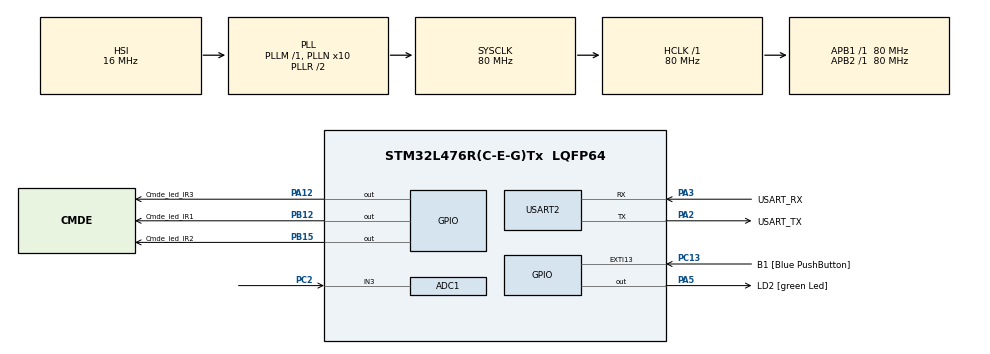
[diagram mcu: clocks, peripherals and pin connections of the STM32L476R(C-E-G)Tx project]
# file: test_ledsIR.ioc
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ADC1.Channel-0\#ChannelRegularConversion=ADC_CHANNEL_3
ADC1.NbrOfConversionFlag=1
ADC1.OffsetNumber-0\#ChannelRegularConversion=ADC_OFFSET_NONE
ADC1.Rank-0\#ChannelRegularConversion=1
ADC1.Resolution=ADC_RESOLUTION_8B
ADC1.SamplingTime-0\#ChannelRegularConversion=ADC_SAMPLETIME_640CYCLES_5
ADC1.master=1
Mcu.Family=STM32L4
Mcu.Name=STM32L476R(C-E-G)Tx
Mcu.Package=LQFP64
NVIC.ADC1_2_IRQn=true\:0\:0\:false\:false\:true\:true\:true\:true
NVIC.PriorityGroup=NVIC_PRIORITYGROUP_4
PA12.GPIO_Label=Cmde_led_IR3
PA12.GPIO_PuPd=GPIO_NOPULL
PA12.Signal=GPIO_Output
PA13\ (JTMS-SWDIO).GPIO_Label=TMS
PA13\ (JTMS-SWDIO).Mode=Serial_Wire
PA13\ (JTMS-SWDIO).Signal=SYS_JTMS-SWDIO
PA14\ (JTCK-SWCLK).GPIO_Label=TCK
PA14\ (JTCK-SWCLK).Mode=Serial_Wire
PA14\ (JTCK-SWCLK).Signal=SYS_JTCK-SWCLK
PA2.GPIO_Label=USART_TX
PA2.GPIO_Mode=GPIO_MODE_AF_PP
PA2.GPIO_PuPd=GPIO_NOPULL
PA2.GPIO_Speed=GPIO_SPEED_FREQ_VERY_HIGH
PA2.Mode=Asynchronous
PA2.Signal=USART2_TX
PA3.GPIO_Label=USART_RX
PA3.GPIO_Mode=GPIO_MODE_AF_PP
PA3.GPIO_PuPd=GPIO_NOPULL
PA3.GPIO_Speed=GPIO_SPEED_FREQ_VERY_HIGH
PA3.Mode=Asynchronous
PA3.Signal=USART2_RX
PA5.GPIO_Label=LD2 [green Led]
PA5.GPIO_ModeDefaultOutputPP=GPIO_MODE_OUTPUT_PP
PA5.GPIO_PuPd=GPIO_NOPULL
PA5.GPIO_Speed=GPIO_SPEED_FREQ_LOW
PA5.Signal=GPIO_Output
PB1.Signal=ADCx_IN16
PB12.GPIO_Label=Cmde_led_IR1
PB12.Signal=GPIO_Output
PB15.GPIO_Label=Cmde_led_IR2
PB15.Signal=GPIO_Output
PB3\ (JTDO-TRACESWO).GPIO_Label=SWO
PB3\ (JTDO-TRACESWO).Signal=SYS_JTDO-SWO
PC13.GPIO_Label=B1 [Blue PushButton]
PC13.GPIO_ModeDefaultEXTI=GPIO_MODE_IT_FALLING
PC13.GPIO_PuPd=GPIO_NOPULL
PC13.Signal=GPXTI13
PC14-OSC32_IN\ (PC14).Mode=LSE-External-Oscillator
PC14-OSC32_IN\ (PC14).Signal=RCC_OSC32_IN
PC15-OSC32_OUT\ (PC15).Mode=LSE-External-Oscillator
PC15-OSC32_OUT\ (PC15).Signal=RCC_OSC32_OUT
PC2.Signal=ADCx_IN3
PH0-OSC_IN\ (PH0).Signal=RCC_OSC_IN
PH1-OSC_OUT\ (PH1).Signal=RCC_OSC_OUT
ProjectManager.HeapSize=0x200
ProjectManager.StackSize=0x400
ProjectManager.TargetToolchain=STM32CubeIDE
RCC.ADCFreq_Value=64000000
RCC.AHBFreq_Value=80000000
RCC.APB1Freq_Value=80000000
RCC.APB1TimFreq_Value=80000000
RCC.APB2Freq_Value=80000000
RCC.APB2TimFreq_Value=80000000
RCC.CortexFreq_Value=80000000
RCC.HCLKFreq_Value=80000000
RCC.HSE_VALUE=8000000
RCC.HSI_VALUE=16000000
RCC.MSI_VALUE=4000000
RCC.PLLN=10
RCC.PLLSourceVirtual=RCC_PLLSOURCE_HSI
RCC.PREFETCH_ENABLE=1
RCC.SYSCLKFreq_VALUE=80000000
RCC.SYSCLKSource=RCC_SYSCLKSOURCE_PLLCLK
RCC.USBFreq_Value=64000000
RCC.VCOOutputFreq_Value=160000000
SH.ADCx_IN16.0=ADC1_IN16
SH.ADCx_IN3.0=ADC1_IN3,IN3-Single-Ended
USART2.VirtualMode-Asynchronous=VM_ASYNC
board=NUCLEO-L476RG

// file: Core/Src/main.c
/* USER CODE BEGIN Header */
/**
  ******************************************************************************
  * @file           : main.c
  * @brief          : Main program body
  ******************************************************************************
  * @attention
  *
  * Copyright (c) 2024 STMicroelectronics.
  * All rights reserved.
  *
  * This software is licensed under terms that can be found in the LICENSE file
  * in the root directory of this software component.
  * If no LICENSE file comes with this software, it is provided AS-IS.
  *
  ******************************************************************************
  */
/* USER CODE END Header */
#include "main.h"

/* USER CODE BEGIN Includes */
#include <stdio.h>
#include <string.h>

/* USER CODE END Includes */

ADC_HandleTypeDef hadc1;

UART_HandleTypeDef huart2;

/* USER CODE BEGIN PV */
volatile int mesure = 0;
volatile int blanc  = 0;
volatile int detection = 0;

/* USER CODE END PV */

void SystemClock_Config(void);
static void MX_GPIO_Init(void);
static void MX_USART2_UART_Init(void);
static void MX_ADC1_Init(void);

int main(void)
{

  /* MCU Configuration--------------------------------------------------------*/

  /* Reset of all peripherals, Initializes the Flash interface and the Systick. */
  HAL_Init();

  /* Configure the system clock */
  SystemClock_Config();

  /* Initialize all configured peripherals */
  MX_GPIO_Init();
  MX_USART2_UART_Init();
  MX_ADC1_Init();
  /* USER CODE BEGIN 2 */

  HAL_GPIO_WritePin(Cmde_led_IR1_GPIO_Port, Cmde_led_IR1_Pin, 0);

  /* USER CODE END 2 */

  /* Infinite loop */
  /* USER CODE BEGIN WHILE */
  while (1)
  {
	  HAL_GPIO_WritePin(Cmde_led_IR1_GPIO_Port, Cmde_led_IR1_Pin, 0);
	  HAL_ADC_Start(&hadc1);
	  HAL_Delay(100);
	  blanc = HAL_ADC_GetValue(&hadc1);

	  HAL_Delay(50);

	  HAL_GPIO_WritePin(Cmde_led_IR1_GPIO_Port, Cmde_led_IR1_Pin, 1);
	  HAL_ADC_Start(&hadc1);
	  HAL_Delay(100);
	  mesure = HAL_ADC_GetValue(&hadc1);
	  detection = mesure - blanc;

	  char buffer[64];
	     int len = sprintf(buffer, "Blanc : %d, Mesure : %d, Detection %d \n", blanc, mesure, detection);

	     // Envoyer par UART2
	     HAL_UART_Transmit(&huart2, (uint8_t*)buffer, len, HAL_MAX_DELAY);

	     // Attente pour lisibilité dans le terminal
	     HAL_Delay(200);

    /* USER CODE END WHILE */

  }
}

void SystemClock_Config(void)
{
  RCC_OscInitTypeDef RCC_OscInitStruct = {0};
  RCC_ClkInitTypeDef RCC_ClkInitStruct = {0};

  /** Configure the main internal regulator output voltage
  */
  if (HAL_PWREx_ControlVoltageScaling(PWR_REGULATOR_VOLTAGE_SCALE1) != HAL_OK)
  {
    Error_Handler();
  }

  /** Initializes the RCC Oscillators according to the specified parameters
  * in the RCC_OscInitTypeDef structure.
  */
  RCC_OscInitStruct.OscillatorType = RCC_OSCILLATORTYPE_HSI;
  RCC_OscInitStruct.HSIState = RCC_HSI_ON;
  RCC_OscInitStruct.HSICalibrationValue = RCC_HSICALIBRATION_DEFAULT;
  RCC_OscInitStruct.PLL.PLLState = RCC_PLL_ON;
  RCC_OscInitStruct.PLL.PLLSource = RCC_PLLSOURCE_HSI;
  RCC_OscInitStruct.PLL.PLLM = 1;
  RCC_OscInitStruct.PLL.PLLN = 10;
  RCC_OscInitStruct.PLL.PLLP = RCC_PLLP_DIV7;
  RCC_OscInitStruct.PLL.PLLQ = RCC_PLLQ_DIV2;
  RCC_OscInitStruct.PLL.PLLR = RCC_PLLR_DIV2;
  if (HAL_RCC_OscConfig(&RCC_OscInitStruct) != HAL_OK)
  {
    Error_Handler();
  }

  /** Initializes the CPU, AHB and APB buses clocks
  */
  RCC_ClkInitStruct.ClockType = RCC_CLOCKTYPE_HCLK|RCC_CLOCKTYPE_SYSCLK
                              |RCC_CLOCKTYPE_PCLK1|RCC_CLOCKTYPE_PCLK2;
  RCC_ClkInitStruct.SYSCLKSource = RCC_SYSCLKSOURCE_PLLCLK;
  RCC_ClkInitStruct.AHBCLKDivider = RCC_SYSCLK_DIV1;
  RCC_ClkInitStruct.APB1CLKDivider = RCC_HCLK_DIV1;
  RCC_ClkInitStruct.APB2CLKDivider = RCC_HCLK_DIV1;

  if (HAL_RCC_ClockConfig(&RCC_ClkInitStruct, FLASH_LATENCY_4) != HAL_OK)
  {
    Error_Handler();
  }
}

static void MX_ADC1_Init(void)
{

  ADC_MultiModeTypeDef multimode = {0};
  ADC_ChannelConfTypeDef sConfig = {0};

  /** Common config
  */
  hadc1.Instance = ADC1;
  hadc1.Init.ClockPrescaler = ADC_CLOCK_ASYNC_DIV1;
  hadc1.Init.Resolution = ADC_RESOLUTION_8B;
  hadc1.Init.DataAlign = ADC_DATAALIGN_RIGHT;
  hadc1.Init.ScanConvMode = ADC_SCAN_DISABLE;
  hadc1.Init.EOCSelection = ADC_EOC_SINGLE_CONV;
  hadc1.Init.LowPowerAutoWait = DISABLE;
  hadc1.Init.ContinuousConvMode = DISABLE;
  hadc1.Init.NbrOfConversion = 1;
  hadc1.Init.DiscontinuousConvMode = DISABLE;
  hadc1.Init.ExternalTrigConv = ADC_SOFTWARE_START;
  hadc1.Init.ExternalTrigConvEdge = ADC_EXTERNALTRIGCONVEDGE_NONE;
  hadc1.Init.DMAContinuousRequests = DISABLE;
  hadc1.Init.Overrun = ADC_OVR_DATA_PRESERVED;
  hadc1.Init.OversamplingMode = DISABLE;
  if (HAL_ADC_Init(&hadc1) != HAL_OK)
  {
    Error_Handler();
  }

  /** Configure the ADC multi-mode
  */
  multimode.Mode = ADC_MODE_INDEPENDENT;
  if (HAL_ADCEx_MultiModeConfigChannel(&hadc1, &multimode) != HAL_OK)
  {
    Error_Handler();
  }

  /** Configure Regular Channel
  */
  sConfig.Channel = ADC_CHANNEL_3;
  sConfig.Rank = ADC_REGULAR_RANK_1;
  sConfig.SamplingTime = ADC_SAMPLETIME_640CYCLES_5;
  sConfig.SingleDiff = ADC_SINGLE_ENDED;
  sConfig.OffsetNumber = ADC_OFFSET_NONE;
  sConfig.Offset = 0;
  if (HAL_ADC_ConfigChannel(&hadc1, &sConfig) != HAL_OK)
  {
    Error_Handler();
  }

}

static void MX_USART2_UART_Init(void)
{

  huart2.Instance = USART2;
  huart2.Init.BaudRate = 115200;
  huart2.Init.WordLength = UART_WORDLENGTH_8B;
  huart2.Init.StopBits = UART_STOPBITS_1;
  huart2.Init.Parity = UART_PARITY_NONE;
  huart2.Init.Mode = UART_MODE_TX_RX;
  huart2.Init.HwFlowCtl = UART_HWCONTROL_NONE;
  huart2.Init.OverSampling = UART_OVERSAMPLING_16;
  huart2.Init.OneBitSampling = UART_ONE_BIT_SAMPLE_DISABLE;
  huart2.AdvancedInit.AdvFeatureInit = UART_ADVFEATURE_NO_INIT;
  if (HAL_UART_Init(&huart2) != HAL_OK)
  {
    Error_Handler();
  }

}

static void MX_GPIO_Init(void)
{
  GPIO_InitTypeDef GPIO_InitStruct = {0};

  /* GPIO Ports Clock Enable */
  __HAL_RCC_GPIOC_CLK_ENABLE();
  __HAL_RCC_GPIOH_CLK_ENABLE();
  __HAL_RCC_GPIOA_CLK_ENABLE();
  __HAL_RCC_GPIOB_CLK_ENABLE();

  /*Configure GPIO pin Output Level */
  HAL_GPIO_WritePin(GPIOA, LD2_Pin|Cmde_led_IR3_Pin, GPIO_PIN_RESET);

  /*Configure GPIO pin Output Level */
  HAL_GPIO_WritePin(GPIOB, Cmde_led_IR1_Pin|Cmde_led_IR2_Pin, GPIO_PIN_RESET);

  /*Configure GPIO pin : B1_Pin */
  GPIO_InitStruct.Pin = B1_Pin;
  GPIO_InitStruct.Mode = GPIO_MODE_IT_FALLING;
  GPIO_InitStruct.Pull = GPIO_NOPULL;
  HAL_GPIO_Init(B1_GPIO_Port, &GPIO_InitStruct);

  /*Configure GPIO pins : LD2_Pin Cmde_led_IR3_Pin */
  GPIO_InitStruct.Pin = LD2_Pin|Cmde_led_IR3_Pin;
  GPIO_InitStruct.Mode = GPIO_MODE_OUTPUT_PP;
  GPIO_InitStruct.Pull = GPIO_NOPULL;
  GPIO_InitStruct.Speed = GPIO_SPEED_FREQ_LOW;
  HAL_GPIO_Init(GPIOA, &GPIO_InitStruct);

  /*Configure GPIO pins : Cmde_led_IR1_Pin Cmde_led_IR2_Pin */
  GPIO_InitStruct.Pin = Cmde_led_IR1_Pin|Cmde_led_IR2_Pin;
  GPIO_InitStruct.Mode = GPIO_MODE_OUTPUT_PP;
  GPIO_InitStruct.Pull = GPIO_NOPULL;
  GPIO_InitStruct.Speed = GPIO_SPEED_FREQ_LOW;
  HAL_GPIO_Init(GPIOB, &GPIO_InitStruct);

}

void Error_Handler(void)
{
  __disable_irq();
  while (1)
  {
  }
}
